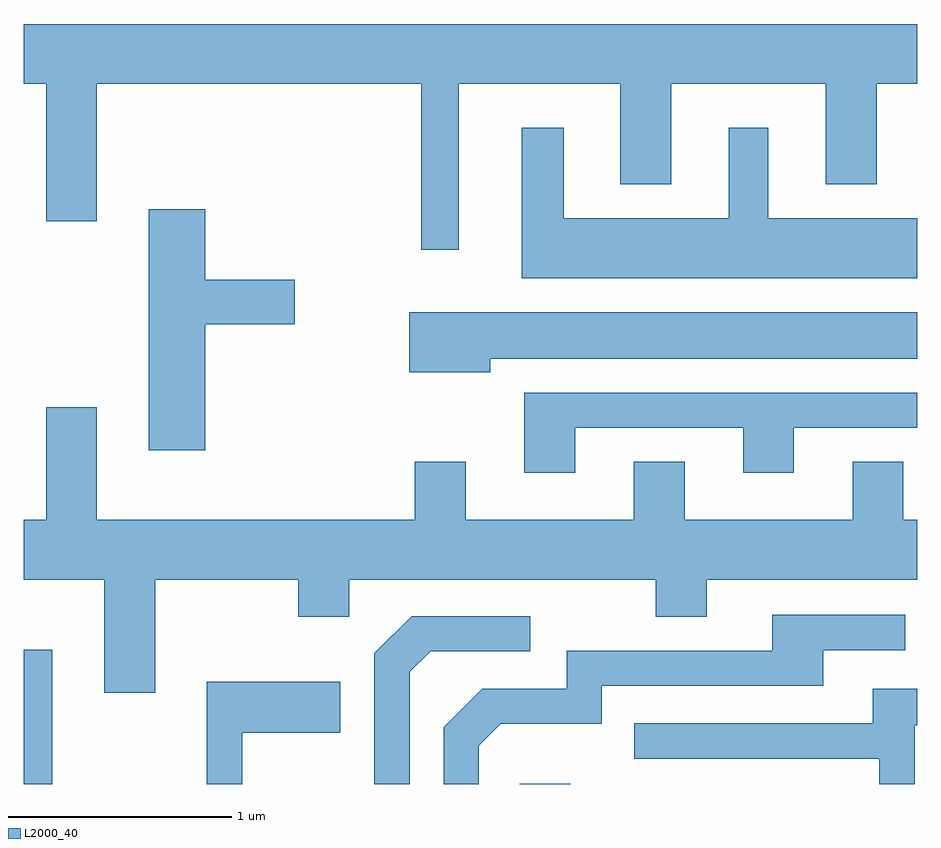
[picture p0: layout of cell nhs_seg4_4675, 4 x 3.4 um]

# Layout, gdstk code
import gdstk
lib = gdstk.Library(unit=1e-6, precision=1e-09)
def R(c, l, rs):  # rectangles x0, y0, x1, y1
    for r in rs: c.add(gdstk.rectangle(r[:2], r[2:], *l))
def P(c, l, *ps):  # polygons
    for p in ps: c.add(gdstk.Polygon(p, *l))
L2000_40 = (2000, 40)

nhs_seg4_4675 = lib.new_cell('nhs_seg4_4675')
R(nhs_seg4_4675, L2000_40, [(321.611,1355.982,321.739,1356.584), (323.831,1355.982,324.059,1355.984)])
P(nhs_seg4_4675, L2000_40, [(323.559,1359.116),(324.281,1359.116),(324.281,1358.666),(324.509,1358.666),(324.509,1359.116),(325.201,1359.116),(325.201,1358.666),(325.429,1358.666),(325.429,1359.116),(325.611,1359.116),(325.611,1359.384),(321.611,1359.384),(321.611,1359.116),(321.711,1359.116),(321.711,1358.501),(321.939,1358.501),(321.939,1359.116),(323.391,1359.116),(323.391,1358.373),(323.559,1358.373)],
  [(325.611,1358.514),(324.944,1358.514),(324.944,1358.919),(324.766,1358.919),(324.766,1358.514),(324.029,1358.514),(324.029,1358.919),(323.841,1358.919),(323.841,1358.246),(325.611,1358.246)],
  [(322.424,1358.041),(322.824,1358.041),(322.824,1358.239),(322.424,1358.239),(322.424,1358.554),(322.171,1358.554),(322.171,1357.476),(322.424,1357.476)],
  [(323.699,1357.886),(325.611,1357.886),(325.611,1358.094),(323.336,1358.094),(323.336,1357.826),(323.699,1357.826)],
  [(324.079,1357.576),(324.831,1357.576),(324.831,1357.376),(325.059,1357.376),(325.059,1357.576),(325.611,1357.576),(325.611,1357.734),(323.851,1357.734),(323.851,1357.376),(324.079,1357.376)],
  [(322.199,1356.896),(322.841,1356.896),(322.841,1356.731),(323.069,1356.731),(323.069,1356.896),(324.441,1356.896),(324.441,1356.731),(324.669,1356.731),(324.669,1356.896),(325.611,1356.896),(325.611,1357.164),(325.549,1357.164),(325.549,1357.424),(325.321,1357.424),(325.321,1357.164),(324.569,1357.164),(324.569,1357.424),(324.341,1357.424),(324.341,1357.164),(323.589,1357.164),(323.589,1357.424),(323.361,1357.424),(323.361,1357.164),(321.939,1357.164),(321.939,1357.669),(321.711,1357.669),(321.711,1357.164),(321.611,1357.164),(321.611,1356.896),(321.971,1356.896),(321.971,1356.391),(322.199,1356.391)],
  [(323.649,1356.154),(323.747,1356.251),(324.199,1356.251),(324.199,1356.421),(325.189,1356.421),(325.189,1356.581),(325.558,1356.581),(325.558,1356.739),(324.961,1356.739),(324.961,1356.579),(324.041,1356.579),(324.041,1356.409),(323.664,1356.409),(323.491,1356.237),(323.491,1355.982),(323.649,1355.982)],
  [(323.339,1356.484),(323.432,1356.576),(323.878,1356.576),(323.878,1356.734),(323.349,1356.734),(323.181,1356.567),(323.181,1355.982),(323.339,1355.982)],
  [(322.589,1356.211),(323.029,1356.211),(323.029,1356.439),(322.431,1356.439),(322.431,1355.982),(322.589,1355.982)],
  [(325.599,1356.246),(325.611,1356.246),(325.611,1356.409),(325.411,1356.409),(325.411,1356.254),(324.343,1356.254),(324.343,1356.096),(325.441,1356.096),(325.441,1355.982),(325.599,1355.982)])

lib.write_gds('nhs_seg4_4675.gds')
